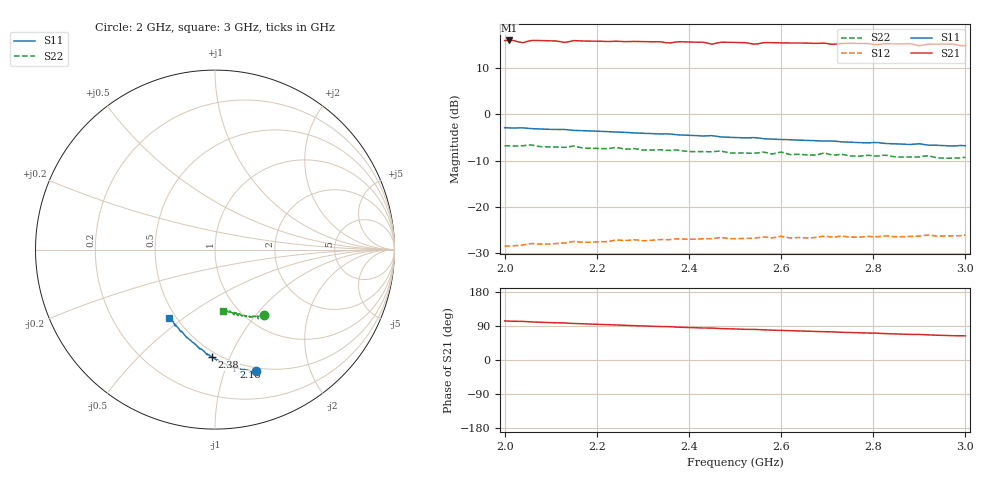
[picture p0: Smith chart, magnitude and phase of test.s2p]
! Created Tue Nov 27 07:09:33 2012
# hz S ma R 50
! 2 Port Network Data from SP1.SP block
! freq  magS11  angS11  magS21  angS21  magS12  angS12  magS22  angS22
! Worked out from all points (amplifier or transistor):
!   101 points, 2 GHz to 3 GHz, reference 50 ohm
!   highest |S21| = 16.0 dB at 2.01 GHz (marker M1)
!   |S21| within 3 dB of that: start of sweep to end of sweep
!   unconditionally stable (mu >= 1): 2.016 GHz to 2.046 GHz; 2.07 GHz to end of sweep
!   at 2.16 GHz: K = 1.04, MAG = 20.6 dB, |S12| = -27.6 dB
!   at 2.5 GHz: K = 1.25, MAG = 18.2 dB, |S12| = -26.9 dB
!   at 3 GHz: K = 1.42, MAG = 16.7 dB, |S12| = -26.2 dB
!   S11 on the Smith chart (normalised r, x): 2 GHz: 0.46, -1.29; 2.18 GHz: 0.46, -1.07; 2.38 GHz: 0.46, -0.86; 3 GHz: 0.46, -0.44
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2e9  0.7167 -71.2  6.293 103.1  0.03738 32.7  0.4564 -52.8
2.01e9  0.7132 -71.7  6.305 102.6  0.03757 32.3  0.4557 -53.2
2.04e9  0.7135 -72.4  5.968 101.9  0.03851 31.2  0.4566 -54.1
2.06e9  0.6992 -74.4  6.304 100.4  0.03994 30.2  0.4646 -54.7
2.13e9  0.6856 -77.3  6.001 97.8  0.04044 27.3  0.4388 -57.7
2.15e9  0.6697 -79.4  6.279 96.3  0.04211 26.6  0.4542 -57.9
2.17e9  0.6653 -80.2  6.223 95.6  0.04114 25.8  0.4315 -59.2
2.18e9  0.6628 -80.8  6.208 95.1  0.04118 25.3  0.4302 -59.5
2.34e9  0.6131 -89.2  6.085 88.3  0.04416 19.1  0.4137 -64.2
2.36e9  0.6123 -89.6  5.928 87.8  0.04405 18.2  0.4063 -65.2
2.38e9  0.5981 -91.5  6.107 86.5  0.04489 17.4  0.4089 -65.6
2.43e9  0.5827 -94.2  6.042 84.4  0.04496 15.6  0.3949 -67.6
2.45e9  0.5882 -94.1  5.747 84.3  0.04499 14.8  0.3925 -68.0
2.47e9  0.5691 -96.3  6.032 82.8  0.0464 13.7  0.4001 -67.7
2.5e9  0.5611 -97.6  5.996 81.9  0.04513 12.5  0.3809 -69.5
2.54e9  0.5598 -98.7  5.748 80.8  0.04562 11.4  0.3785 -70.5
2.57e9  0.5415 -101.3  5.982 79.2  0.0467 10.1  0.3834 -70.9
2.67e9  0.5194 -106.3  5.87 75.6  0.04617 7.2  0.3614 -74.1
2.84e9  0.4805 -115.7  5.803 69.1  0.0475 2.6  0.3507 -78.5
2.9e9  0.4802 -117.6  5.516 67.5  0.04805 1.0  0.3459 -80.2
2.92e9  0.4637 -120.2  5.759 66.2  0.04939 0.4  0.3563 -79.0
3e9  0.4566 -124.0  5.556 63.6  0.04923 -1.4  0.3427 -82.6
